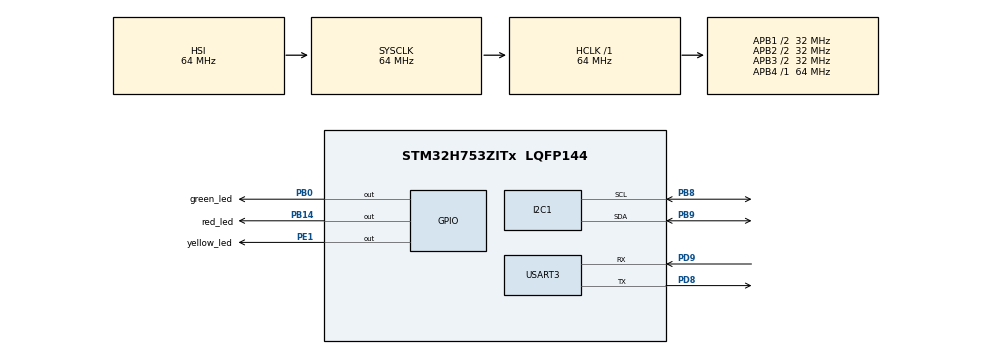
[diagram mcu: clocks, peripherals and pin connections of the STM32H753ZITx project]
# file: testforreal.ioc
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I2C1.Timing=0x00707CBB
Mcu.Family=STM32H7
Mcu.Name=STM32H753ZITx
Mcu.Package=LQFP144
NVIC.PriorityGroup=NVIC_PRIORITYGROUP_4
PB0.GPIO_Label=green_led
PB0.Signal=GPIO_Output
PB14.GPIO_Label=red_led
PB14.Signal=GPIO_Output
PB8.Mode=I2C
PB8.Signal=I2C1_SCL
PB9.Mode=I2C
PB9.Signal=I2C1_SDA
PD8.GPIO_Speed=GPIO_SPEED_FREQ_VERY_HIGH
PD8.Mode=Asynchronous
PD8.Signal=USART3_TX
PD9.GPIO_Speed=GPIO_SPEED_FREQ_VERY_HIGH
PD9.Mode=Asynchronous
PD9.Signal=USART3_RX
PE1.GPIO_Label=yellow_led
PE1.Signal=GPIO_Output
ProjectManager.HeapSize=0x200
ProjectManager.StackSize=0x400
ProjectManager.TargetToolchain=STM32CubeIDE
RCC.ADCFreq_Value=129000000
RCC.APB1Freq_Value=32000000
RCC.APB2Freq_Value=32000000
RCC.APB3Freq_Value=32000000
RCC.APB4Freq_Value=64000000
RCC.CortexFreq_Value=64000000
RCC.D1PPRE=RCC_APB3_DIV2
RCC.D2PPRE1=RCC_APB1_DIV2
RCC.D2PPRE2=RCC_APB2_DIV2
RCC.HCLKFreq_Value=64000000
RCC.SYSCLKFreq_VALUE=64000000
RCC.USBFreq_Value=129000000
USART3.VirtualMode-Asynchronous=VM_ASYNC
board=custom

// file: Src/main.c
/* USER CODE BEGIN Header */
/**
  ******************************************************************************
  * @file           : main.c
  * @brief          : Main program body
  ******************************************************************************
  * @attention
  *
  * Copyright (c) 2025 STMicroelectronics.
  * All rights reserved.
  *
  * This software is licensed under terms that can be found in the LICENSE file
  * in the root directory of this software component.
  * If no LICENSE file comes with this software, it is provided AS-IS.
  *
  ******************************************************************************
  */
/* USER CODE END Header */
#include "main.h"

I2C_HandleTypeDef hi2c1;

UART_HandleTypeDef huart3;

void SystemClock_Config(void);
static void MX_GPIO_Init(void);
static void MX_USART3_UART_Init(void);
static void MX_I2C1_Init(void);

/* USER CODE BEGIN 0 */

void UART_Print(UART_HandleTypeDef *huart, const char *message) {
      HAL_UART_Transmit(huart, (uint8_t *)message, strlen(message), HAL_MAX_DELAY);
}

void scanI2C(){
  for (uint8_t i = 0; i < 128; i++) {
    if (HAL_I2C_IsDeviceReady(&hi2c1, (uint16_t)(i<<1), 3, 5) == HAL_OK) {
      UART_Print(&huart3, "I2C device found at address: 0x");
      char str[3];
      sprintf(str, "%02X", i);
      UART_Print(&huart3, str);
      UART_Print(&huart3, "\r\n");
    }
    if (i > 0 && (i + 1) % 16 == 0) printf("\n");
  }
}

int checkI2CAddress(uint8_t address) {
  if (HAL_I2C_IsDeviceReady(&hi2c1, (uint16_t)(address<<1), 3, 5) == HAL_OK) {
    UART_Print(&huart3, "I2C device found at address: 0x");
    char str[3];
    sprintf(str, "%02X", address);
    UART_Print(&huart3, str);
    UART_Print(&huart3, "\r\n");
    return 1;
  } else {
    UART_Print(&huart3, "I2C device not found at address: 0x");
    char str[3];
    sprintf(str, "%02X", address);
    UART_Print(&huart3, str);
    UART_Print(&huart3, "\r\n");
    return 0;
  }
}

/* USER CODE END 0 */

int main(void)
{

  /* MCU Configuration--------------------------------------------------------*/

  /* Reset of all peripherals, Initializes the Flash interface and the Systick. */
  HAL_Init();

  /* Configure the system clock */
  SystemClock_Config();

  /* Initialize all configured peripherals */
  MX_GPIO_Init();
  MX_USART3_UART_Init();
  MX_I2C1_Init();
  /* USER CODE BEGIN 2 */
  // Scan I2C bus for devicess
  scanI2C();
  // Check if device is MPU6050
  if (checkI2CAddress(0x68)) {
  UART_Print(&huart3, "Device MPU6050 found at address 0x68\r\n");
  } else {
  UART_Print(&huart3, "Device MPU6050 not found at address 0x68\r\n");
  }
  /* USER CODE END 2 */

  /* Infinite loop */
  while (1)
  {

    /* USER CODE BEGIN 3 */
	HAL_GPIO_WritePin(GPIOB, GPIO_PIN_14, 1);
	HAL_GPIO_WritePin(GPIOE, GPIO_PIN_1, 0);
	HAL_GPIO_WritePin(GPIOB, GPIO_PIN_0, 0);
	HAL_Delay(10);
	HAL_GPIO_WritePin(GPIOE, GPIO_PIN_1, 0);
	HAL_GPIO_WritePin(GPIOB, GPIO_PIN_14, 1);
	HAL_GPIO_WritePin(GPIOB, GPIO_PIN_0, 0);
	HAL_Delay(10);
	HAL_GPIO_WritePin(GPIOE, GPIO_PIN_1, 0);
	HAL_GPIO_WritePin(GPIOB, GPIO_PIN_14, 0);
	HAL_GPIO_WritePin(GPIOB, GPIO_PIN_0, 1);
	HAL_Delay(10);
	UART_Print(&huart3, "Hello, UART!\r\n");
	HAL_Delay(10);
  if (checkI2CAddress(0x36)) { //AS5600
  UART_Print(&huart3, "Device found at address 0x36\r\n");
  }
  }
  /* USER CODE END 3 */
}

void SystemClock_Config(void)
{
  RCC_OscInitTypeDef RCC_OscInitStruct = {0};
  RCC_ClkInitTypeDef RCC_ClkInitStruct = {0};

  /** Supply configuration update enable
  */
  HAL_PWREx_ConfigSupply(PWR_LDO_SUPPLY);

  /** Configure the main internal regulator output voltage
  */
  __HAL_PWR_VOLTAGESCALING_CONFIG(PWR_REGULATOR_VOLTAGE_SCALE3);

  while(!__HAL_PWR_GET_FLAG(PWR_FLAG_VOSRDY)) {}

  /** Initializes the RCC Oscillators according to the specified parameters
  * in the RCC_OscInitTypeDef structure.
  */
  RCC_OscInitStruct.OscillatorType = RCC_OSCILLATORTYPE_HSI;
  RCC_OscInitStruct.HSIState = RCC_HSI_DIV1;
  RCC_OscInitStruct.HSICalibrationValue = RCC_HSICALIBRATION_DEFAULT;
  RCC_OscInitStruct.PLL.PLLState = RCC_PLL_NONE;
  if (HAL_RCC_OscConfig(&RCC_OscInitStruct) != HAL_OK)
  {
    Error_Handler();
  }

  /** Initializes the CPU, AHB and APB buses clocks
  */
  RCC_ClkInitStruct.ClockType = RCC_CLOCKTYPE_HCLK|RCC_CLOCKTYPE_SYSCLK
                              |RCC_CLOCKTYPE_PCLK1|RCC_CLOCKTYPE_PCLK2
                              |RCC_CLOCKTYPE_D3PCLK1|RCC_CLOCKTYPE_D1PCLK1;
  RCC_ClkInitStruct.SYSCLKSource = RCC_SYSCLKSOURCE_HSI;
  RCC_ClkInitStruct.SYSCLKDivider = RCC_SYSCLK_DIV1;
  RCC_ClkInitStruct.AHBCLKDivider = RCC_HCLK_DIV1;
  RCC_ClkInitStruct.APB3CLKDivider = RCC_APB3_DIV2;
  RCC_ClkInitStruct.APB1CLKDivider = RCC_APB1_DIV2;
  RCC_ClkInitStruct.APB2CLKDivider = RCC_APB2_DIV2;
  RCC_ClkInitStruct.APB4CLKDivider = RCC_APB4_DIV1;

  if (HAL_RCC_ClockConfig(&RCC_ClkInitStruct, FLASH_LATENCY_1) != HAL_OK)
  {
    Error_Handler();
  }
}

static void MX_I2C1_Init(void)
{

  hi2c1.Instance = I2C1;
  hi2c1.Init.Timing = 0x00707CBB;
  hi2c1.Init.OwnAddress1 = 0;
  hi2c1.Init.AddressingMode = I2C_ADDRESSINGMODE_7BIT;
  hi2c1.Init.DualAddressMode = I2C_DUALADDRESS_DISABLE;
  hi2c1.Init.OwnAddress2 = 0;
  hi2c1.Init.OwnAddress2Masks = I2C_OA2_NOMASK;
  hi2c1.Init.GeneralCallMode = I2C_GENERALCALL_DISABLE;
  hi2c1.Init.NoStretchMode = I2C_NOSTRETCH_DISABLE;
  if (HAL_I2C_Init(&hi2c1) != HAL_OK)
  {
    Error_Handler();
  }

  /** Configure Analogue filter
  */
  if (HAL_I2CEx_ConfigAnalogFilter(&hi2c1, I2C_ANALOGFILTER_ENABLE) != HAL_OK)
  {
    Error_Handler();
  }

  /** Configure Digital filter
  */
  if (HAL_I2CEx_ConfigDigitalFilter(&hi2c1, 0) != HAL_OK)
  {
    Error_Handler();
  }

}

static void MX_USART3_UART_Init(void)
{

  huart3.Instance = USART3;
  huart3.Init.BaudRate = 115200;
  huart3.Init.WordLength = UART_WORDLENGTH_8B;
  huart3.Init.StopBits = UART_STOPBITS_1;
  huart3.Init.Parity = UART_PARITY_NONE;
  huart3.Init.Mode = UART_MODE_TX_RX;
  huart3.Init.HwFlowCtl = UART_HWCONTROL_NONE;
  huart3.Init.OverSampling = UART_OVERSAMPLING_16;
  huart3.Init.OneBitSampling = UART_ONE_BIT_SAMPLE_DISABLE;
  huart3.Init.ClockPrescaler = UART_PRESCALER_DIV1;
  huart3.AdvancedInit.AdvFeatureInit = UART_ADVFEATURE_NO_INIT;
  if (HAL_UART_Init(&huart3) != HAL_OK)
  {
    Error_Handler();
  }
  if (HAL_UARTEx_SetTxFifoThreshold(&huart3, UART_TXFIFO_THRESHOLD_1_8) != HAL_OK)
  {
    Error_Handler();
  }
  if (HAL_UARTEx_SetRxFifoThreshold(&huart3, UART_RXFIFO_THRESHOLD_1_8) != HAL_OK)
  {
    Error_Handler();
  }
  if (HAL_UARTEx_DisableFifoMode(&huart3) != HAL_OK)
  {
    Error_Handler();
  }

}

static void MX_GPIO_Init(void)
{
  GPIO_InitTypeDef GPIO_InitStruct = {0};

  /* GPIO Ports Clock Enable */
  __HAL_RCC_GPIOB_CLK_ENABLE();
  __HAL_RCC_GPIOD_CLK_ENABLE();
  __HAL_RCC_GPIOE_CLK_ENABLE();

  /*Configure GPIO pin Output Level */
  HAL_GPIO_WritePin(GPIOB, green_led_Pin|red_led_Pin, GPIO_PIN_RESET);

  /*Configure GPIO pin Output Level */
  HAL_GPIO_WritePin(yellow_led_GPIO_Port, yellow_led_Pin, GPIO_PIN_RESET);

  /*Configure GPIO pins : green_led_Pin red_led_Pin */
  GPIO_InitStruct.Pin = green_led_Pin|red_led_Pin;
  GPIO_InitStruct.Mode = GPIO_MODE_OUTPUT_PP;
  GPIO_InitStruct.Pull = GPIO_NOPULL;
  GPIO_InitStruct.Speed = GPIO_SPEED_FREQ_LOW;
  HAL_GPIO_Init(GPIOB, &GPIO_InitStruct);

  /*Configure GPIO pin : yellow_led_Pin */
  GPIO_InitStruct.Pin = yellow_led_Pin;
  GPIO_InitStruct.Mode = GPIO_MODE_OUTPUT_PP;
  GPIO_InitStruct.Pull = GPIO_NOPULL;
  GPIO_InitStruct.Speed = GPIO_SPEED_FREQ_LOW;
  HAL_GPIO_Init(yellow_led_GPIO_Port, &GPIO_InitStruct);

}

void Error_Handler(void)
{
  __disable_irq();
  while (1)
  {
  }
}
